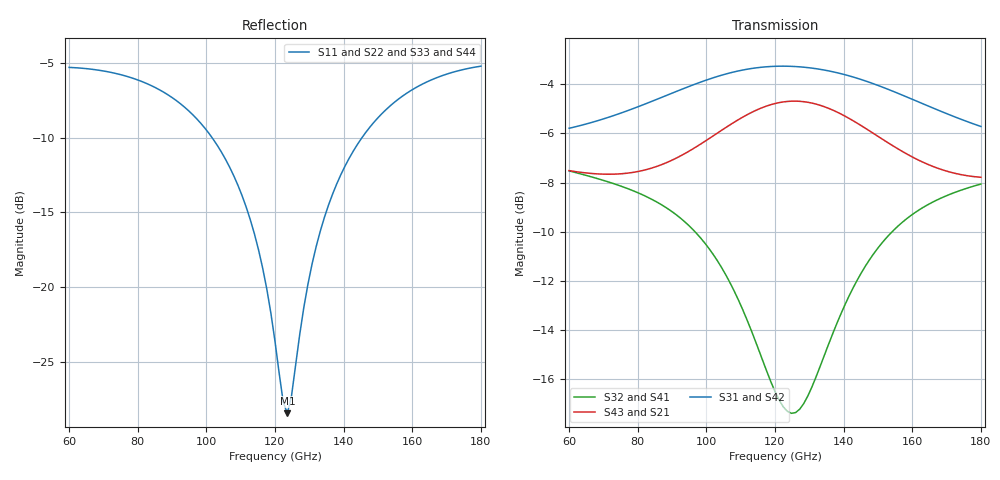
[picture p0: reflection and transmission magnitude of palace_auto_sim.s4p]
#  GHZ S DB R 50
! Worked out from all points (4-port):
!   101 points, 60 GHz to 180 GHz, reference 50 ohm
!   strongest paths, dB at 60 GHz, 90 GHz, 120 GHz, 150 GHz, 180 GHz:
!     S31: -5.8, -4.4, -3.3, -4.0, -5.7
!     S42: -5.8, -4.4, -3.3, -4.0, -5.7
!     S43: -7.5, -7.1, -4.8, -6.1, -7.8
!     S21: -7.5, -7.1, -4.8, -6.1, -7.8
!     S32: -7.5, -9.2, -16.5, -10.7, -8.1
!     S41: -7.5, -9.2, -16.5, -10.7, -8.1
!   lowest |S11| = -28.4 dB at 123.6 GHz (marker M1), VSWR 1.08, Z = 53.9 - j0.567 ohm
!   |S11| at or under -10 dB: 101.6 GHz to 145.4 GHz (43.76 GHz wide, 35.4 % of centre)
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60  -5.31 158.5  -7.52 -48.0  -5.79 -79.9  -7.53 -62.4
    -7.52 -48.0  -5.31 158.5  -7.53 -62.4  -5.79 -79.9
    -5.79 -79.9  -7.53 -62.4  -5.31 158.5  -7.52 -47.9
    -7.53 -62.4  -5.79 -79.9  -7.52 -47.9  -5.31 158.5
103.2  -10.53 108.1  -5.99 -69.7  -3.68 -145.6  -11.19 -110.3
       -5.99 -69.7  -10.53 108.1  -11.19 -110.3  -3.68 -145.6
       -3.68 -145.6  -11.19 -110.3  -10.54 108.2  -5.99 -69.8
       -11.19 -110.3  -3.68 -145.6  -5.99 -69.8  -10.53 108.2
114  -16.44 85.1  -5.09 -81.7  -3.33 -165.7  -14.36 -116.1
     -5.09 -81.7  -16.43 85.1  -14.36 -116.1  -3.33 -165.7
     -3.33 -165.7  -14.36 -116.1  -16.45 85.2  -5.09 -81.7
     -14.36 -116.1  -3.33 -165.7  -5.09 -81.7  -16.45 85.3
123.6  -28.45 -8.0  -4.69 -95.1  -3.26 175.9  -17.33 -99.4
       -4.69 -95.1  -28.42 -7.7  -17.33 -99.3  -3.26 175.9
       -3.26 175.9  -17.33 -99.3  -28.56 -8.0  -4.69 -95.1
       -17.33 -99.4  -3.26 175.9  -4.69 -95.1  -28.58 -7.9
132  -17.29 -90.8  -4.80 -107.3  -3.36 159.9  -15.91 -76.9
     -4.80 -107.3  -17.30 -90.7  -15.91 -76.8  -3.36 159.9
     -3.36 159.9  -15.91 -76.8  -17.30 -91.0  -4.80 -107.3
     -15.91 -76.9  -3.36 159.9  -4.80 -107.3  -17.31 -91.0
141.6  -11.39 -112.4  -5.39 -119.8  -3.65 141.9  -12.63 -74.5
       -5.39 -119.8  -11.40 -112.3  -12.62 -74.4  -3.65 142.0
       -3.65 141.9  -12.62 -74.4  -11.40 -112.4  -5.39 -119.8
       -12.63 -74.5  -3.65 142.0  -5.39 -119.8  -11.40 -112.5
180  -5.23 -160.6  -7.79 -144.6  -5.71 80.9  -8.07 -116.7
     -7.79 -144.6  -5.23 -160.6  -8.06 -116.7  -5.71 80.9
     -5.71 80.9  -8.06 -116.7  -5.23 -160.6  -7.79 -144.6
     -8.07 -116.7  -5.71 80.9  -7.79 -144.6  -5.23 -160.7
